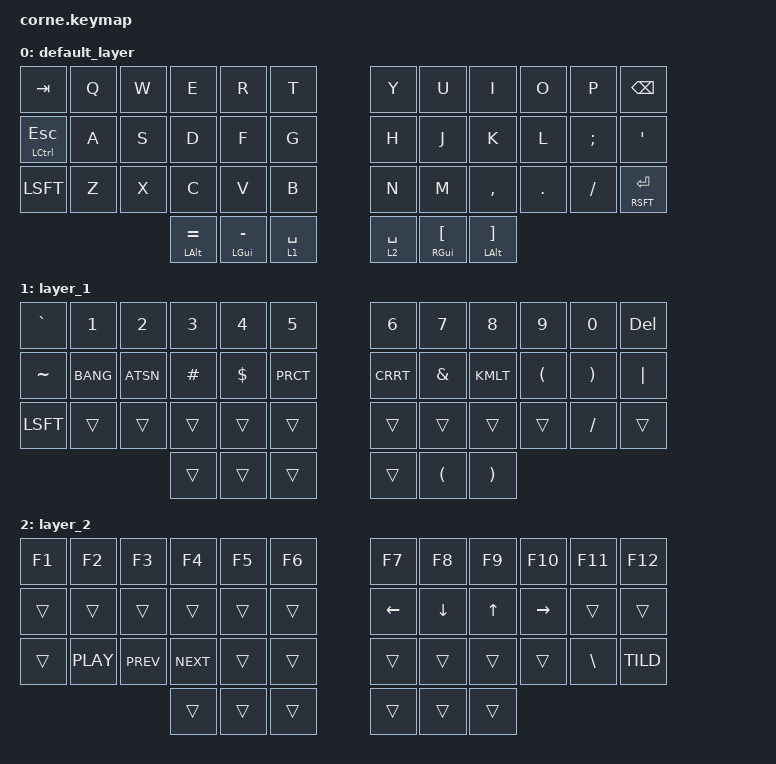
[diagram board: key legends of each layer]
#include <behaviors.dtsi>
#include <dt-bindings/zmk/keys.h>
#include <dt-bindings/zmk/bt.h>

/ {
        keymap {
                compatible = "zmk,keymap";

                default_layer {
                        bindings = <
   &kp TAB      &kp Q &kp W &kp E &kp R &kp T        &kp Y &kp U  &kp I    &kp O   &kp P    &kp BKSP
   &mt LCTL ESC &kp A &kp S &kp D &kp F &kp G        &kp H &kp J  &kp K    &kp L   &kp SCLN &kp QUOT
   &kp LSFT     &kp Z &kp X &kp C &kp V &kp B        &kp N &kp M  &kp CMMA &kp DOT &kp FSLH &mt RSFT RET
          &mt LALT EQL &mt LGUI MINUS &lt 1 SPC    &lt 2 SPC &mt RGUI LBKT &mt LALT RBKT
                        >;
                };
                layer_1 {
                        bindings = <
   &kp GRAVE &kp NUM_1 &kp NUM_2 &kp NUM_3 &kp NUM_4   &kp NUM_5          &kp NUM_6 &kp NUM_7   &kp NUM_8 &kp NUM_9 &kp NUM_0 &kp DEL
   &kp TILDE &kp BANG  &kp ATSN  &kp HASH  &kp DOLLAR  &kp PRCT           &kp CRRT  &kp AMPS    &kp KMLT  &kp LPRN  &kp RPRN  &kp PIPE
   &kp LSFT  &trans    &trans    &trans    &trans &trans             &trans    &trans &trans    &trans    &kp FSLH  &trans
                                           &trans  &trans  &trans     &trans &kp LPRN &kp RPRN
                        >;
                };

                layer_2 {
                        bindings = <
   &kp F1  &kp F2      &kp F3      &kp F4      &kp F5  &kp F6        &kp F7   &kp F8      &kp F9  &kp F10   &kp F11  &kp F12
   &trans  &trans      &trans      &trans      &trans  &trans        &kp LEFT &kp DOWN    &kp UP  &kp RIGHT &trans   &trans
   &trans  &kp C_PLAY  &kp C_PREV  &kp C_NEXT  &trans  &trans        &trans   &trans &trans  &trans    &kp BSLH &kp TILD
                                           &trans &trans &trans   &trans  &trans &trans
                        >;
                };
        };
};

